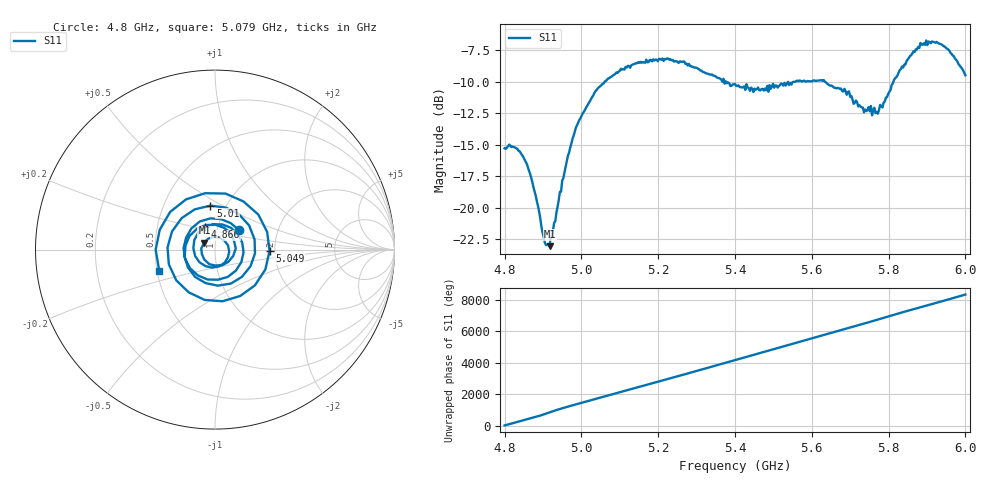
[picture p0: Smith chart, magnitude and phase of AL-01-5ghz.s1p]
! NanoVNA-App
! Date: 2026-05-22 19:01:32
! Start: 4.8GHz Stop: 6GHz Points: 401
! S-Parameter data: F S11
# Hz S RI R 50
!  Frequency  S11_Real  S11_Imag
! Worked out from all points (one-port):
!   401 points, 4.8 GHz to 6 GHz, reference 50 ohm
!   lowest |S11| = -23.0 dB at 4.917 GHz (marker M1), VSWR 1.15, Z = 44.3 + j3.47 ohm
!   |S11| at or under -10 dB: start of sweep to 5.06 GHz; 5.377 GHz to 5.538 GHz (161.1 MHz wide, 2.95 % of centre); 5.635 GHz to 5.812 GHz (177.6 MHz wide, 3.1 % of centre)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
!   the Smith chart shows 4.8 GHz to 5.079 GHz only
!   S11 on the Smith chart (normalised r, x): 4.8 GHz: 1.27, +0.29; 4.866 GHz: 0.87, +0.22; 5.01 GHz: 0.85, +0.44; 5.049 GHz: 1.87, -0.03; 5.079 GHz: 0.51, -0.13
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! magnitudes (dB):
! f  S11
! 4.8 GHz  -15.3
! 4.836 GHz  -15.5
! 4.866 GHz  -17.3
! 4.884 GHz  -19.5
! 4.902 GHz  -22.3
! 4.911 GHz  -22.9
! 4.917 GHz  -23.0
! 4.929 GHz  -21.2
! 4.95 GHz  -17.8
! 4.983 GHz  -13.9
! 5.01 GHz  -12.2
! 5.049 GHz  -10.3
! 5.079 GHz  -9.6
! 5.1 GHz  -9.1
! 5.184 GHz  -8.4
! 5.25 GHz  -8.4
! 5.4 GHz  -10.2
! 5.469 GHz  -10.6
! 5.55 GHz  -10.0
! 5.628 GHz  -9.9
! 5.7 GHz  -11.2
! 5.736 GHz  -12.4
! 5.772 GHz  -12.5
! 5.85 GHz  -8.2
! 5.883 GHz  -6.9
! 5.922 GHz  -6.9
! 5.952 GHz  -7.4
! 6 GHz  -9.5
